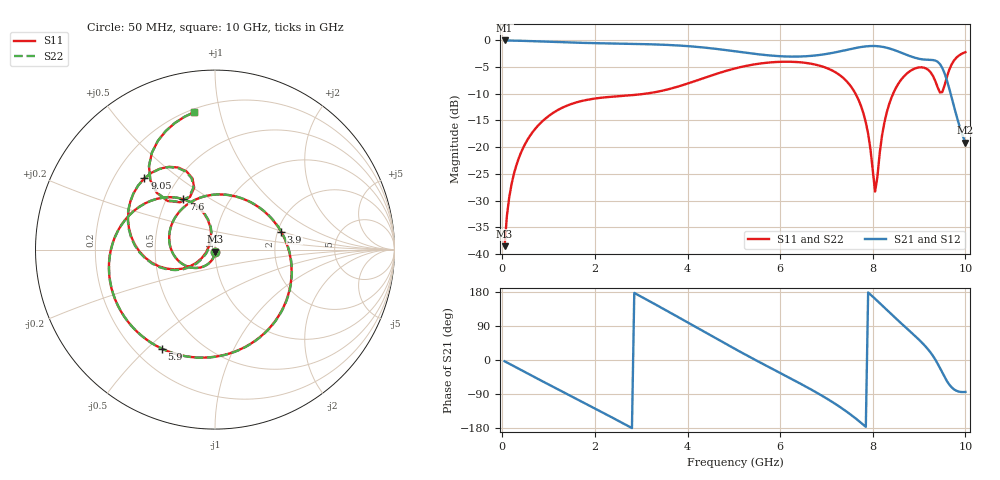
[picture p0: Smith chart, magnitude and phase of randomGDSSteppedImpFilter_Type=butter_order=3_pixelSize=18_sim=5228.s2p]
! freq	dB(S11)	phase(S11)	dB(S12)	phase(S12)
!  dB(S21)	phase(S21)	dB(S22)	phase(S22)
!S-par simulation data
#  GHz  S  DB  R 50
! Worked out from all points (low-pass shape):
!   200 points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, 50 MHz to 10 GHz, reference 50 ohm
!   highest |S21| = -0.02 dB at 50 MHz (marker M1); lowest = -19.2 dB at 10 GHz (marker M2)
!   |S21| within 3 dB of the highest: start of sweep to 6.127 GHz; 6.452 GHz to 8.826 GHz (2.374 GHz wide, 31.1 % of centre)
!   lowest |S11| = -38.5 dB at 50 MHz (marker M3), VSWR 1.02, Z = 50.1 - j1.18 ohm
!   |S11| at or under -10 dB: start of sweep to 3.084 GHz; 7.627 GHz to 8.439 GHz (812.5 MHz wide, 10.1 % of centre)
!   |S22| runs from -38.5 to -2.2 dB; largest |S21 - S12| = 0
!   S11 on the Smith chart (normalised r, x): 50 MHz: 1.00, -0.02; 3.9 GHz: 2.08, +0.49; 5.9 GHz: 0.31, -0.55; 7.6 GHz: 0.61, +0.38; 9.05 GHz: 0.33, +0.38; 10 GHz: 0.22, +0.84
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0.05  -38.55 -84.3  -0.02 -3.3  -0.02 -3.3  -38.55 -84.3
0.2  -26.93 -101.0  -0.05 -13.1  -0.05 -13.1  -26.93 -101.0
0.5  -19.29 -122.4  -0.11 -32.5  -0.11 -32.5  -19.29 -122.3
1.15  -13.30 -164.6  -0.31 -74.2  -0.31 -74.2  -13.30 -164.5
1.75  -11.29 157.1  -0.48 -112.1  -0.48 -112.1  -11.29 157.3
2.6  -10.40 102.5  -0.62 -166.6  -0.62 -166.6  -10.40 103.0
3.4  -9.54 49.4  -0.80 140.3  -0.80 140.3  -9.53 50.1
3.9  -8.38 15.3  -1.02 106.2  -1.02 106.2  -8.38 16.0
4.4  -6.92 -19.1  -1.39 71.7  -1.39 71.7  -6.92 -18.4
5.05  -5.21 -63.2  -2.08 27.4  -2.08 27.4  -5.21 -62.6
5.9  -4.06 -118.4  -2.92 -27.9  -2.92 -27.9  -4.06 -117.9
6.7  -4.43 -170.0  -2.89 -80.0  -2.89 -80.0  -4.43 -169.8
7.6  -9.58 122.2  -1.49 -151.2  -1.49 -151.2  -9.59 122.0
7.9  -17.51 101.8  -1.09 178.2  -1.09 178.2  -17.57 100.6
8.05  -28.33 151.5  -1.07 161.6  -1.07 161.6  -29.18 151.0
8.35  -12.06 -153.7  -1.50 126.9  -1.50 126.9  -12.08 -152.7
8.65  -6.97 176.3  -2.44 92.7  -2.44 92.7  -6.98 177.0
9.05  -5.05 134.8  -3.54 47.3  -3.54 47.3  -5.05 135.3
9.35  -7.62 107.5  -3.79 1.1  -3.79 1.1  -7.58 108.1
9.55  -8.45 134.2  -6.16 -44.8  -6.16 -44.8  -8.38 134.1
9.75  -3.82 123.1  -12.26 -77.1  -12.26 -77.1  -3.81 122.9
10  -2.22 98.6  -19.18 -84.3  -19.18 -84.3  -2.21 98.5
